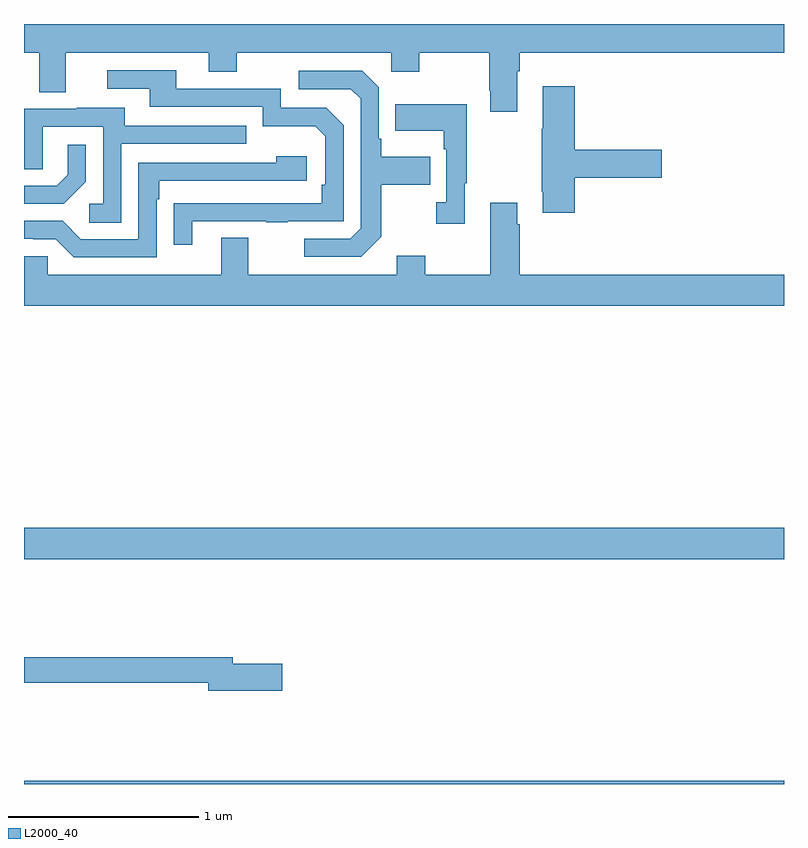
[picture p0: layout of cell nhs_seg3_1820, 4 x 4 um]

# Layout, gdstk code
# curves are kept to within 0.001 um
import gdstk
lib = gdstk.Library(unit=1e-6, precision=1e-09)
def R(c, l, rs):  # rectangles x0, y0, x1, y1
    for r in rs: c.add(gdstk.rectangle(r[:2], r[2:], *l))
def P(c, l, *ps):  # polygons
    for p in ps: c.add(gdstk.Polygon(p, *l))
L2000_40 = (2000, 40)

nhs_seg3_1820 = lib.new_cell('nhs_seg3_1820')
R(nhs_seg3_1820, L2000_40, [(205,698.4,209,698.416), (205,699.584,209,699.748)])
P(nhs_seg3_1820, L2000_40, [(207.595,702.152),(207.608,702.152),(207.608,702.248),(209,702.248),(209,702.4),(205,702.4),(205,702.248),(205.079,702.248),(205.079,702.04),(205.219,702.04),(205.219,702.248),(205.973,702.248),(205.973,702.149),(206.121,702.149),(206.121,702.248),(206.934,702.248),(206.934,702.149),(207.081,702.149),(207.081,702.248),(207.448,702.248),(207.448,702.049),(207.455,702.049),(207.455,701.937),(207.595,701.937)],
  [(205.885,701.361),(206.275,701.361),(206.275,701.356),(206.387,701.356),(206.387,701.361),(206.682,701.361),(206.682,701.868),(206.592,701.958),(206.352,701.958),(206.352,702.06),(205.801,702.06),(205.801,702.156),(205.437,702.156),(205.437,702.06),(205.661,702.06),(205.661,701.964),(206.256,701.964),(206.256,701.861),(206.533,701.861),(206.586,701.808),(206.586,701.554),(206.566,701.554),(206.566,701.457),(205.789,701.456),(205.789,701.238),(205.885,701.238)],
  [(206.881,701.281),(206.881,701.554),(207.137,701.554),(207.137,701.701),(206.881,701.701),(206.881,701.797),(206.868,701.797),(206.868,702.066),(206.781,702.153),(206.445,702.153),(206.445,702.057),(206.721,702.057),(206.772,702.006),(206.772,701.325),(206.718,701.271),(206.475,701.271),(206.475,701.175),(206.775,701.175)],
  [(207.899,701.591),(208.357,701.591),(208.357,701.738),(207.899,701.738),(207.899,702.073),(207.731,702.073),(207.731,701.849),(207.724,701.849),(207.724,701.518),(207.731,701.518),(207.731,701.406),(207.899,701.406)],
  [(207.319,701.561),(207.331,701.561),(207.331,701.977),(206.953,701.977),(206.953,701.837),(207.21,701.837),(207.21,701.741),(207.222,701.741),(207.222,701.462),(207.171,701.462),(207.171,701.349),(207.319,701.349)],
  [(205.512,701.769),(206.171,701.769),(206.171,701.865),(205.531,701.865),(205.531,701.959),(205.277,701.959),(205.277,701.955),(205,701.955),(205,701.635),(205.098,701.635),(205.098,701.859),(205.416,701.859),(205.416,701.454),(205.344,701.454),(205.344,701.353),(205.512,701.353)],
  [(205.326,701.57),(205.326,701.764),(205.229,701.764),(205.229,701.607),(205.172,701.55),(205,701.55),(205,701.454),(205.21,701.454)],
  [(205.698,701.477),(205.711,701.477),(205.711,701.574),(206.488,701.574),(206.488,701.704),(206.327,701.704),(206.327,701.67),(205.602,701.67),(205.602,701.268),(205.299,701.268),(205.203,701.364),(205,701.364),(205,701.271),(205.049,701.271),(205.049,701.268),(205.167,701.268),(205.263,701.172),(205.698,701.172)],
  [(209,701.08),(207.608,701.08),(207.608,701.345),(207.595,701.345),(207.595,701.458),(207.455,701.458),(207.455,701.08),(207.111,701.08),(207.111,701.179),(206.963,701.179),(206.963,701.08),(206.179,701.08),(206.179,701.275),(206.039,701.275),(206.039,701.08),(205.125,701.08),(205.125,701.178),(205,701.178),(205,700.916),(209,700.916)],
  [(206.359,699.032),(206.098,699.032),(206.098,699.068),(205,699.068),(205,698.932),(205.97,698.932),(205.97,698.89),(206.359,698.89)])

lib.write_gds('nhs_seg3_1820.gds')
